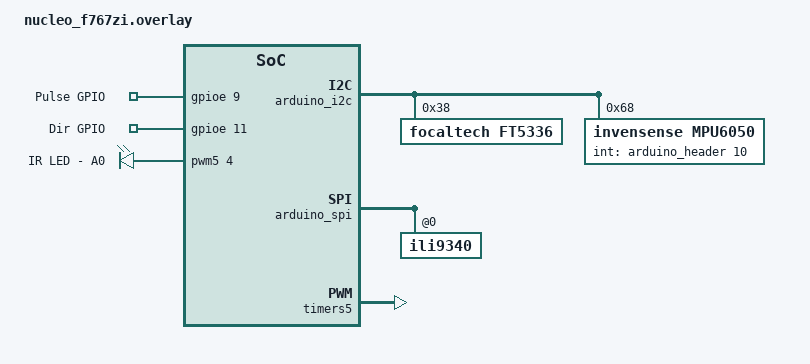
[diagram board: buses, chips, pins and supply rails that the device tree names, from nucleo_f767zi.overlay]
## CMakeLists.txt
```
# SPDX-License-Identifier: Apache-2.0

# Re-direct the directory where the 'boards' directory is found from
# $ZEPHYR_BASE to this directory.
# set(BOARD_ROOT ${CMAKE_CURRENT_LIST_DIR})


set(BOARD nucleo_f767zi) # nucleo_h745zi_q_m7)
set(SHIELD adafruit_2_8_tft_touch_v2)
# set(SHIELD "adafruit_2_8_tft_touch_v2 esp_8266_arduino")

set(CMAKE_C_FLAGS -lstdc++)
set(CMAKE_CXX_FLAGS -lstdc++)

cmake_minimum_required(VERSION 3.13.1)

find_package(Zephyr REQUIRED HINTS $ENV{ZEPHYR_BASE})
project(rail@h745zi)

zephyr_library_compile_options(-lstdc++ -std=c++17 -Wall -Wextra -Wno-missing-field-initializers -Wno-unused-variable -Wno-comment)


FILE(GLOB app_sources src/*.cpp)
target_sources(app PRIVATE ${app_sources})
```

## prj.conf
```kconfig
CONFIG_NEWLIB_LIBC=y
CONFIG_CPLUSPLUS=y
CONFIG_LIB_CPLUSPLUS=y
CONFIG_STD_CPP17=y


CONFIG_EARLY_CONSOLE=y

CONFIG_HEAP_MEM_POOL_SIZE=16384
CONFIG_MAIN_STACK_SIZE=2048

CONFIG_INIT_STACKS=y
CONFIG_THREAD_STACK_INFO=y
CONFIG_SYSTEM_WORKQUEUE_STACK_SIZE=4096
CONFIG_BT_RX_STACK_SIZE=4096

CONFIG_CONSOLE_SUBSYS=y
CONFIG_CONSOLE_GETLINE=y

CONFIG_PWM=y

CONFIG_LOG=y
CONFIG_ASSERT=y

CONFIG_DISPLAY=y
CONFIG_DISPLAY_LOG_LEVEL_ERR=y

CONFIG_I2C=y
CONFIG_SPI=y

###############################################################################
### lvgl
CONFIG_LVGL=y
CONFIG_LVGL_HOR_RES_MAX=320
CONFIG_LVGL_VER_RES_MAX=240
CONFIG_LVGL_LOG_LEVEL_WRN=y

# Make sure that the rendering task is always executed if we call
# lv_task_handler by setting the refresh period to zero
CONFIG_LVGL_DISP_DEF_REFR_PERIOD=0
# CONFIG_LVGL_COLOR_SCREEN_TRANSP=y
CONFIG_LVGL_ANTIALIAS=y

# CONFIG_LVGL_POINTER_KSCAN=y
# CONFIG_LVGL_POINTER_KSCAN_MSGQ_COUNT=100

# CONFIG_LVGL_USE_ANIMATION=y
# CONFIG_LVGL_USE_SHADOW=y
# CONFIG_LVGL_USE_OUTLINE=y
# CONFIG_LVGL_USE_PATTERN=y
# CONFIG_LVGL_USE_VALUE_STR=y
# CONFIG_LVGL_USE_BLEND_MODES=y
# CONFIG_LVGL_USE_OPA_SCALE=y
# CONFIG_LVGL_USE_IMG_TRANSFORM=y
# CONFIG_LVGL_USE_GROUP=y
# CONFIG_LVGL_USE_GPU=y
# CONFIG_LVGL_IMG_CF_INDEXED=y
# CONFIG_LVGL_IMG_CF_ALPHA=y
# CONFIG_LVGL_USE_FILESYSTEM=y
# CONFIG_LVGL_DOUBLE_VDB=y
# CONFIG_LVGL_USE_BIDI=y
# CONFIG_LVGL_USE_ARABIC_PERSIAN_CHARS=y
# CONFIG_LVGL_USE_OBJ_REALIGN=y
CONFIG_LVGL_USE_LABEL=y
# CONFIG_LVGL_LABEL_TEXT_SEL=y
# CONFIG_LVGL_LABEL_LONG_TXT_HINT=y
# CONFIG_LVGL_USE_IMG=y
# CONFIG_LVGL_USE_LINE=y
# CONFIG_LVGL_USE_ARC=y
CONFIG_LVGL_USE_CONT=y
CONFIG_LVGL_USE_PAGE=y
CONFIG_LVGL_USE_WIN=y
CONFIG_LVGL_USE_TABVIEW=y
# CONFIG_LVGL_USE_TILEVIEW=y
# CONFIG_LVGL_USE_CALENDAR=y
# CONFIG_LVGL_CALENDAR_WEEK_STARTS_MONDAY=y
# CONFIG_LVGL_USE_SPINNER=y
# CONFIG_LVGL_USE_CANVAS=y
CONFIG_LVGL_USE_BAR=y
# CONFIG_LVGL_USE_LINEMETER=y
# CONFIG_LVGL_USE_GAUGE=y
# CONFIG_LVGL_USE_CHART=y
# CONFIG_LVGL_USE_TABLE=y
# CONFIG_LVGL_USE_LED=y
# CONFIG_LVGL_USE_MSGBOX=y
# CONFIG_LVGL_USE_TEXTAREA=y
# CONFIG_LVGL_USE_SPINBOX=y
CONFIG_LVGL_USE_BTN=y
# CONFIG_LVGL_USE_IMGBTN=y
# CONFIG_LVGL_IMGBTN_TILED=y
CONFIG_LVGL_USE_BTNMATRIX=y
# CONFIG_LVGL_USE_KEYBOARD=y
CONFIG_LVGL_USE_CHECKBOX=y
CONFIG_LVGL_USE_LIST=y
CONFIG_LVGL_USE_DROPDOWN=y
CONFIG_LVGL_USE_ROLLER=y
CONFIG_LVGL_USE_SLIDER=y
# CONFIG_LVGL_USE_SWITCH=y
# CONFIG_LVGL_USE_LED=y
# CONFIG_LVGL_USE_OBJMASK=y
CONFIG_LVGL_USE_THEME_MATERIAL=y
# CONFIG_LVGL_FONT_MONTSERRAT_8=y
# CONFIG_LVGL_FONT_MONTSERRAT_10=y
CONFIG_LVGL_FONT_MONTSERRAT_12=y
# CONFIG_LVGL_FONT_MONTSERRAT_14=y
CONFIG_LVGL_FONT_MONTSERRAT_16=y
# CONFIG_LVGL_FONT_MONTSERRAT_18=y
# CONFIG_LVGL_FONT_MONTSERRAT_20=y
# CONFIG_LVGL_FONT_MONTSERRAT_22=y
CONFIG_LVGL_FONT_MONTSERRAT_24=y
# CONFIG_LVGL_FONT_MONTSERRAT_26=y
CONFIG_LVGL_FONT_MONTSERRAT_28=y
# CONFIG_LVGL_FONT_MONTSERRAT_30=y
# CONFIG_LVGL_FONT_MONTSERRAT_32=y
# CONFIG_LVGL_FONT_MONTSERRAT_34=y
# CONFIG_LVGL_FONT_MONTSERRAT_36=y
# CONFIG_LVGL_FONT_MONTSERRAT_38=y
# CONFIG_LVGL_FONT_MONTSERRAT_40=y
# CONFIG_LVGL_FONT_MONTSERRAT_42=y
# CONFIG_LVGL_FONT_MONTSERRAT_44=y
# CONFIG_LVGL_FONT_MONTSERRAT_46=y
# CONFIG_LVGL_FONT_MONTSERRAT_48=y
# CONFIG_LVGL_FONT_MONTSERRAT_12_SUBPX=y
# CONFIG_LVGL_FONT_MONTSERRAT_28_COMPRESSED=y
# CONFIG_LVGL_FONT_DEJAVU_16_PERSIAN_HEBREW=y
# CONFIG_LVGL_FONT_SIMSUN_16_CJK=y
# CONFIG_LVGL_FONT_UNSCII_8=y
# CONFIG_LVGL_USE_FONT_COMPRESSED=y
# CONFIG_LVGL_USE_FONT_SUBPX=y

# CONFIG_LVGL_VDB_SIZE=64
# CONFIG_LVGL_DPI=148
# CONFIG_LVGL_BITS_PER_PIXEL=1
# CONFIG_LVGL_COLOR_DEPTH=LVGL_COLOR_DEPTH_1

###############################################################################
### sensors
CONFIG_SENSOR=y
CONFIG_MPU6050=y
CONFIG_MPU6050_TRIGGER_NONE=y
CONFIG_CBPRINTF_FP_SUPPORT=y

# CONFIG_BMI160=y

###############################################################################
### networking
# CONFIG_NETWORKING=y

# CONFIG_NET_CONFIG_AUTO_INIT=y

# # #CONFIG_NET_TX_STACK_SIZE=2048
# # #CONFIG_NET_RX_STACK_SIZE=2048

# # #CONFIG_NET_PKT_RX_COUNT=10
# # #CONFIG_NET_PKT_TX_COUNT=10
# # #CONFIG_NET_BUF_RX_COUNT=20
# # #CONFIG_NET_BUF_TX_COUNT=20
# # #CONFIG_NET_MAX_CONTEXTS=10


# # CONFIG_NET_IPV4=y
# # CONFIG_NET_IPV6=n

# # CONFIG_NET_TCP=y

# # CONFIG_NET_LOG=y
# # CONFIG_INIT_STACKS=y

# # #CONFIG_NET_STATISTICS=y
# # #CONFIG_NET_STATISTICS_PERIODIC_OUTPUT=n

# CONFIG_WIFI=y
# CONFIG_WIFI_LOG_LEVEL_ERR=y
# # # CONFIG_NET_L2_WIFI_SHELL=y
```

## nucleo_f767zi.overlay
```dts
/*
 *
 * SPDX-License-Identifier: Apache-2.0
 */
 / {
	gpio_keys {
		compatible = "gpio-keys";
		pulse_gpio: pulse_gpio {
			gpios = <&gpioe 9 GPIO_ACTIVE_HIGH>; /* D6 */
			label = "Pulse GPIO";
		};
		dir_gpio: dir_gpio {
			gpios = <&gpioe 11 GPIO_ACTIVE_HIGH>; /* D5 */
			label = "Dir GPIO";
		};
	};
	aliases {
		pulse = &pulse_gpio;
        dir = &dir_gpio;
		pwmir = &ir_pwm_led;
	};

	pwmleds {
		compatible = "pwm-leds";
		ir_pwm_led: ir_pwm_led {
			pwms = <&pwm5 4 4 PWM_POLARITY_NORMAL>;
			label = "IR LED - A0";
		};
	};
};

&arduino_i2c {
	status = "okay";
	touch_controller: ft5336@38 {
		compatible = "focaltech,ft5336";
		reg = <0x38>;
		label = "FT5336";
		/* Uncomment if IRQ line is available (requires to solder jumper) */
		/* int-gpios = <&arduino_header 13 GPIO_ACTIVE_LOW>; */ /* D7 */
	};

	mpu6050@68 {
		compatible = "invensense,mpu6050";
		reg = <0x68>;
		status = "okay";
		label = "MPU6050";
		int-gpios = <&arduino_header 10 GPIO_ACTIVE_HIGH>; /* D4 */
	};
};

&arduino_spi {
	ili9340@0 {
		rotation = < 90 >;
	};
};

// &arduino_serial {
// 	status = "okay";
// 	current-speed = <115200>;
// 
// 	esp8266 {
// 		compatible = "espressif,esp";
// 		label = "esp8266";
// 		status = "okay";
// 	};
// };

&timers5 {
    status = "okay";

    pwm5: pwm {
        status = "okay";
		st,prescaler = < 2 >;
        pinctrl-0 = <&tim5_ch4_pa3>; /* A0 */
    };
};
```

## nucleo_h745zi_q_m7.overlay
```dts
/*
 *
 * SPDX-License-Identifier: Apache-2.0
 */
 / {
	leds {
		compatible = "gpio-leds";
	};

	gpio_keys {
		compatible = "gpio-keys";
		pulse_gpio: pulse_gpio {
			gpios = <&gpioa 8 GPIO_ACTIVE_HIGH>; /* D6 */
			label = "Pulse GPIO";
		};
		dir_gpio: dir_gpio {
			gpios = <&gpioe 11 GPIO_ACTIVE_HIGH>; /* D5 */
			label = "Dir GPIO";
		};
	};
	aliases {
		// led0 = &green_led;
		led1 = &yellow_led;
		pulse = &pulse_gpio;
        dir = &dir_gpio;

		pwmir = &ir_pwm_led;
		// pwmir = &red_pwm_led;
	};

	pwmleds {
		compatible = "pwm-leds";
		ir_pwm_led: ir_pwm_led {
			pwms = <&pwm5 4 4 PWM_POLARITY_NORMAL>;
			label = "IR LED - A0";
		};
	};
};

&spi1 {
    pinctrl-0 = <&spi1_nss_pa4 &spi1_sck_pa5
                 &spi1_miso_pa6 &spi1_mosi_pb5>;
    status = "okay";
};
arduino_spi: &spi1 {};
&arduino_spi {
    cs-gpios = < &arduino_header 0x10 0x1 >, < &arduino_header 0xc 0x1 >;
	ili9340@0 {
		rotation = < 0x10E >;
	};
};


&arduino_i2c {
	status = "okay";
	touch_controller: ft5336@38 {
		compatible = "focaltech,ft5336";
		reg = <0x38>;
		label = "FT5336";
		/* Uncomment if IRQ line is available (requires to solder jumper) */
		/* int-gpios = <&arduino_header 13 GPIO_ACTIVE_LOW>; */ /* D7 */
	};

	mpu6050@68 {
		compatible = "invensense,mpu6050";
		reg = <0x68>;
		status = "okay";
		label = "MPU6050";
		int-gpios = <&arduino_header 2 GPIO_ACTIVE_HIGH>; /* D7 */
	};
};

&timers5 {
    status = "okay";

    pwm5: pwm {
        status = "okay";
		st,prescaler = < 2 >;
        pinctrl-0 = <&tim5_ch4_pa3>; /* A0 */
    };
};
```

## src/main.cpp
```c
/*
 * Copyright (c) 2018 Google LLC.
 *
 * SPDX-License-Identifier: Apache-2.0
 */

#include <stdbool.h>
#include <stdio.h>
#include <stdlib.h>
#include <string.h>
#include <zephyr.h>
#include <zephyr/types.h>

#include <device.h>
#include <init.h>
#include <kernel.h>
#include <sys/byteorder.h>
#include <sys/crc.h>
#include <sys/printk.h>

#include <console/console.h>

#include <lvgl.h>

#include <drivers/display.h>

#include <logging/log.h>
LOG_MODULE_REGISTER(rail);

#include "Display.h"
#include "GyroWaiter.h"
#include "IrSony.h"
#include "StepperWithTarget.h"
#include "View.h"

#define SW0_NODE DT_ALIAS(sw0)

// ############################################################################
// initialize Stepper

StepperWithTarget stepper;

void stepper_work_handler(struct k_work *work) {
  ARG_UNUSED(work);
  stepper.step_towards_target();
}
K_WORK_DEFINE(stepper_work, stepper_work_handler);
void stepper_expiry_function(struct k_timer *timer_id) {
  ARG_UNUSED(timer_id);
  k_work_submit(&stepper_work);
}
K_TIMER_DEFINE(stepper_timer, stepper_expiry_function, NULL);
void start_stepper() {
  stepper.start();
  k_timer_start(&stepper_timer, K_USEC(20), K_USEC(20));
}

// ############################################################################
// initialize IrSony
IrSony irsony;

// ############################################################################
// initialize GyroWaiter
GyroWaiter gyro_waiter;

// ############################################################################
// initialize Button
#define SW0_GPIO_LABEL DT_GPIO_LABEL(SW0_NODE, gpios)
#define SW0_GPIO_PIN DT_GPIO_PIN(SW0_NODE, gpios)
#define SW0_GPIO_FLAGS (GPIO_INPUT | DT_GPIO_FLAGS(SW0_NODE, gpios))
static struct gpio_callback button_cb_data;
void button_pressed(const struct device *dev, struct gpio_callback *cb,
                    uint32_t pins) {
  ARG_UNUSED(dev);
  ARG_UNUSED(cb);
  ARG_UNUSED(pins);

  printk("Button pressed at %" PRIu32 "\n", k_cycle_get_32());
  gyro_waiter.wait();
}
void init_button() {
  const struct device *button;
  button = device_get_binding(SW0_GPIO_LABEL);
  gpio_pin_configure(button, SW0_GPIO_PIN, SW0_GPIO_FLAGS);
  gpio_pin_interrupt_configure(button, SW0_GPIO_PIN, GPIO_INT_EDGE_TO_ACTIVE);
  gpio_init_callback(&button_cb_data, button_pressed, BIT(SW0_GPIO_PIN));
  gpio_add_callback(button, &button_cb_data);
}

// ############################################################################
// ...

Display get_display() {
  const struct device *display_dev =
      device_get_binding(CONFIG_LVGL_DISPLAY_DEV_NAME);
  __ASSERT(display_dev != NULL, "display device not found.");
  Display display(display_dev);
  return display;
}

// ############################################################################
// Main

void main(void) {
  gyro_waiter.init();


  LOG_INF("stepper = %p", &stepper);

  init_button();

  Display display = get_display();

  Model model(&stepper);
  model.set_upper_bound(12800);
  model.set_step_number(300);
  LOG_INF("model = %p", &model);
  model.log_state();

  Controller controller(&model, &irsony, &gyro_waiter);
  controller.prepare_stack();
  LOG_INF("controller = %p", &controller);

  View view(&model, &controller, &display);
  LOG_INF("view = %p", &view);

  start_stepper();
  while (true) {
    view.update();
    lv_task_handler();
    controller.work();
    k_sleep(K_MSEC(100));
  }
}
```

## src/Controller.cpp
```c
#include "Controller.h"
#include <logging/log.h>
LOG_MODULE_REGISTER(controller);

K_SEM_DEFINE(_work_in_progress_sem, 1, 1);
Controller::Controller(Model *_model, IrSony *_irsony, GyroWaiter *_gyro_waiter)
    : model{_model}, irsony{_irsony}, gyro_waiter{_gyro_waiter} {
  work_in_progress_sem = &_work_in_progress_sem;
}

void Controller::work() {
  if (k_sem_take(work_in_progress_sem, K_MSEC(50)) != 0) {
    LOG_WRN("work, but semaphore is not availablel");
    return;
  }
  if (model->is_stack_in_progress() && model->is_in_target_position()) {
    do_next_stack_step();
  }
  k_sem_give(work_in_progress_sem);
}

void Controller::go(int dist) { model->go(dist); }
void Controller::go_to(int target_position) {
  model->set_target_position(target_position);
}
void Controller::go_to_upper_bound() {
  model->set_target_position(model->get_upper_bound());
}
void Controller::go_to_lower_bound() {
  model->set_target_position(model->get_lower_bound());
}

void Controller::set_new_upper_bound() {
  model->set_upper_bound(model->get_target_position());
  prepare_stack();
}

void Controller::set_new_lower_bound() {
  model->set_lower_bound(model->get_target_position());
  prepare_stack();
}

void Controller::set_step_number(int step_number) {
  model->set_step_number(step_number);
  prepare_stack();
}

void Controller::synchronize_and_sleep(k_timeout_t timeout) {
  k_sleep(K_MSEC(10));

  k_sleep(timeout);
}

void Controller::prepare_stack() {
  if (model->is_stack_in_progress()) {
    LOG_WRN("tried to prepare while stack was in progress");
    return;
  }

  int cur_position = model->get_cur_position();
  int upper_bound = model->get_upper_bound();
  int lower_bound = model->get_lower_bound();

  int start, stop;
  if (abs(lower_bound - cur_position) < abs(upper_bound - cur_position)) {
    start = lower_bound;
    stop = upper_bound;
  } else {
    start = upper_bound;
    stop = lower_bound;
  }

  int step_number = model->get_step_number();
  LOG_INF("prepare_stack: %d -> %d, #=%d", start, stop, step_number);

  int distance = stop - start;
  int stack_step_jump = distance / step_number;
  if (stack_step_jump == 0) {
    LOG_WRN("step_jump of 0");
    return;
  }
  int i;
  for (i = 0; i < (step_number - 1); i++) {
    model->set_step_position(i, start + i * stack_step_jump);
  }
  model->set_step_position(step_number - 1, stop);
}

void Controller::start_stack() {
  if (model->is_stack_in_progress()) {
    LOG_WRN("start_stack, stack already running");
  } else {
    LOG_INF("start_stack");
    std::optional<int> start_position = model->get_next_step_and_increment();
    if (!start_position.has_value()) {
      LOG_ERR("stacking start failed");
      return;
    }
    go_to(start_position.value());
    model->set_stack_in_progress(true);
  }
}

void Controller::stop_stack() {
  LOG_INF("stop_stack");
  model->set_stack_in_progress(false);
}

void Controller::do_next_stack_step() {
  if (!model->is_stack_in_progress()) {
    LOG_ERR("stacking, but not in progress");
    return;
  }

  if (!model->is_in_target_position()) {
    LOG_WRN("stacking, but not yet in target position");
    return;
  }

  LOG_INF("stacking, waiting");
  k_sleep(K_MSEC(2000));
  LOG_INF("stacking, gyro_waiter, waiting");
  gyro_waiter->wait();
  LOG_INF("stacking, take pickture");
  irsony->shoot();
  k_sleep(K_MSEC(500));

  std::optional<int> next_position = model->get_next_step_and_increment();
  if (!next_position.has_value()) {
    LOG_INF("stacking, finished");
    return;
  }
  LOG_INF("stacking, next is %d", next_position.value());

  go_to(next_position.value());
}
```

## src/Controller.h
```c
#ifndef __CONTROLLER_H_
#define __CONTROLLER_H_

#include <device.h>
#include <init.h>
#include <stdbool.h>
#include <stdio.h>
#include <stdlib.h>
#include <string.h>
#include <zephyr.h>
#include <zephyr/types.h>

#include <drivers/display.h>
#include <lvgl.h>

#include <logging/log.h>

#include "GyroWaiter.h"
#include "IrSony.h"
#include "Model.h"

class Controller {
  Model *model;
  IrSony *irsony;
  GyroWaiter *gyro_waiter;
  struct k_sem *work_in_progress_sem;
public:
  Controller(Model *_model, IrSony *_irsony, GyroWaiter *_gyro_waiter);
  void work();

  void go(int dist);
  void go_to(int target_position);
  void go_to_upper_bound();
  void go_to_lower_bound();
  void set_new_upper_bound();
  void set_new_lower_bound();
  void set_step_number(int step_number);

  void synchronize_and_sleep(k_timeout_t timeout);

  void prepare_stack();
  void start_stack();
  void stop_stack();
  void do_next_stack_step();
};

#endif // __CONTROLLER_H_
```

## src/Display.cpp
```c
#include "Display.h"
#include <logging/log.h>
LOG_MODULE_REGISTER(display);

void Display::init_styles() {
  lv_style_init(&style_normal);
  lv_style_set_text_font(&style_normal, LV_STATE_DEFAULT, font_normal);

  lv_style_init(&style_button);
  lv_style_set_bg_color(&style_button, LV_STATE_DEFAULT, LV_COLOR_GRAY);
  lv_style_set_bg_color(&style_button, LV_STATE_PRESSED, LV_COLOR_RED);
  lv_style_set_radius(&style_button, LV_STATE_DEFAULT, 5);
  lv_style_set_bg_opa(&style_button, LV_STATE_DEFAULT, LV_OPA_COVER);

  lv_style_init(&style_box);
  lv_style_set_bg_color(&style_box, LV_STATE_DEFAULT, LV_COLOR_BLACK);
  lv_style_set_bg_opa(&style_box, LV_STATE_DEFAULT, LV_OPA_COVER);
}

void Display::init_header(lv_obj_t *parent) {
  header = add_container(parent, LV_HOR_RES, 25);
  lv_obj_align(header, NULL, LV_ALIGN_IN_TOP_MID, 0, 0);
}

void Display::init_tabview(lv_obj_t *parent) {
  tabview = lv_tabview_create(parent, NULL);
  lv_obj_set_size(tabview, LV_HOR_RES, LV_VER_RES - 15);
  lv_obj_add_style(tabview, 0, &style_normal);
  lv_obj_align(tabview, NULL, LV_ALIGN_IN_BOTTOM_MID, 0, 0);
}

Display::Display(const struct device *display_dev) {
  LOG_INF("initialize display...");
  init_styles();
  init_tabview(lv_scr_act());
  init_header(lv_scr_act());
  LOG_INF("...initialize display done");
  display_blanking_off(display_dev);
}

lv_obj_t *Display::get_header() { return header; }

lv_obj_t *Display::make_tab(const char *title) {
  return lv_tabview_add_tab(tabview, title);
}

lv_obj_t *Display::add_container(lv_obj_t *parent, int width, int height) {
  lv_obj_t *container = lv_cont_create(parent, NULL);
  lv_obj_set_size(container, width, height);
  lv_cont_set_fit(container, LV_FIT_TIGHT);
  lv_cont_set_layout(container, LV_LAYOUT_COLUMN_MID);
  return container;
}

lv_obj_t *Display::add_label(lv_obj_t *parent) {
  lv_obj_t *lbl = lv_label_create(parent, NULL);
  lv_obj_add_style(lbl, 0, &style_normal);
  return lbl;
}

lv_obj_t *Display::add_panel(lv_obj_t *parent) {
  lv_obj_t *panel = lv_obj_create(parent, NULL);
  lv_obj_add_style(panel, 0, &style_box);
  return panel;
}

lv_obj_t *Display::add_button(lv_obj_t *parent, const char *label_text,
                              int width, int height) {
  lv_obj_t *btn = lv_btn_create(parent, NULL);
  lv_obj_set_height(btn, height);
  lv_obj_set_width(btn, width);
  lv_obj_add_style(btn, 0, &style_button);
  if (label_text != NULL) {
    lv_obj_t *label = lv_label_create(btn, NULL);
    lv_label_set_text(label, label_text);
    lv_obj_add_style(label, 0, &style_normal);
  }
  return btn;
}

lv_obj_t *Display::add_roller(lv_obj_t *parent, const char *options) {
  lv_obj_t *roller = lv_roller_create(parent, NULL);
  lv_roller_set_options(roller, options, LV_ROLLER_MODE_NORMAL);

  lv_roller_set_visible_row_count(roller, 4);
  return roller;
}

void Display::set_header_visible(bool is_visible) {
  lv_obj_set_hidden(header, !is_visible);
}
```

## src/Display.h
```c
#ifndef __DISPLAY_H_
#define __DISPLAY_H_

#include <drivers/display.h>
#include <lvgl.h>
#include <map>

class Display {
  void init_styles();
  lv_obj_t *header;
  lv_obj_t *tabview;
  void init_header(lv_obj_t *parent);
  void init_tabview(lv_obj_t *parent);

  const lv_font_t *font_title = &lv_font_montserrat_28;
  const lv_font_t *font_subtitle = &lv_font_montserrat_24;
  const lv_font_t *font_normal = &lv_font_montserrat_16;
  const lv_font_t *font_small = &lv_font_montserrat_12;

public:
  Display(const struct device *display_dev);

  lv_style_t style_normal;
  lv_style_t style_button;
  lv_style_t style_box;

  lv_obj_t *get_header();
  lv_obj_t *make_tab(const char *title);
  lv_obj_t *add_container(lv_obj_t *parent, int width, int heigth);
  lv_obj_t *add_label(lv_obj_t *parent);
  lv_obj_t *add_panel(lv_obj_t *parent);
  lv_obj_t *add_button(lv_obj_t *parent, const char *label_text, int width,
                       int heigth);
  lv_obj_t *add_roller(lv_obj_t *parent, const char *options);
  void set_header_visible(bool is_visible);
};

#endif // __DISPLAY_H_
```

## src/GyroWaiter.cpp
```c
#include <stdbool.h>
#include <stdio.h>
#include <stdlib.h>
#include <string.h>
#include <zephyr.h>
#include <zephyr/types.h>

#include <device.h>
#include <init.h>
#include <kernel.h>
#include <net/buf.h>
#include <sys/byteorder.h>
#include <sys/crc.h>
#include <sys/printk.h>

#include <lvgl.h>

#include <drivers/sensor.h>

#include "GyroWaiter.h"

#include <logging/log.h>
LOG_MODULE_REGISTER(gyro);

void GyroWaiter::init(){
  LOG_INF("gyro waiter init...");
  offset_0 = 0;
  offset_1 = 0;
  offset_2 = 0;
  if (mpu6050 == NULL) {
    return;
  }

  k_sleep(K_MSEC(500));
  int rc = 0;
  struct sensor_value gyro[3];
  int num_of_samples = 10;
  for(int idx = 1; idx < num_of_samples; ++idx) {
    rc = sensor_sample_fetch(mpu6050);
    if (rc == 0) {
      rc = sensor_channel_get(mpu6050, SENSOR_CHAN_GYRO_XYZ, gyro);
    }

    LOG_DBG("( %f , %f , %f )", sensor_value_to_double(&gyro[0]),
            sensor_value_to_double(&gyro[1]), sensor_value_to_double(&gyro[2]));

    offset_0 += sensor_value_to_double(&gyro[0]);
    offset_1 += sensor_value_to_double(&gyro[1]);
    offset_2 += sensor_value_to_double(&gyro[1]);

    k_sleep(K_MSEC(sleep_msec));
  }
  offset_0 = offset_0 / num_of_samples;
  offset_1 = offset_1 / num_of_samples;
  offset_2 = offset_2 / num_of_samples;
  LOG_INF("gyro waiter offsets: ( %f , %f , %f )", offset_0, offset_1, offset_2);
}

int GyroWaiter::wait() {
  if (mpu6050 == NULL) {
    return 0;
  }

  char gyro_str[40] = {0};
  struct sensor_value gyro[3];

  double cyclic_buffer[num_of_samples * 3] = {1, 1, 1};
  int idx = 1;
  int count = 0;
  int rc = 0;

  LOG_INF("wait for stall...\n");
  while (1) {
    rc = sensor_sample_fetch(mpu6050);
    if (rc == 0) {
      rc = sensor_channel_get(mpu6050, SENSOR_CHAN_GYRO_XYZ, gyro);
    }
    if (rc != 0) {
      break;
    }
    sprintf(gyro_str, "%f\n%f\n%f", sensor_value_to_double(&gyro[0]),
            sensor_value_to_double(&gyro[1]), sensor_value_to_double(&gyro[2]));
    LOG_DBG("... %s\n", gyro_str);
    if (label) {
      lv_label_set_text(label, gyro_str);
    }

    cyclic_buffer[idx * 3] = sensor_value_to_double(&gyro[0]) - offset_0;
    cyclic_buffer[idx * 3 + 1] = sensor_value_to_double(&gyro[1]) - offset_1;
    cyclic_buffer[idx * 3 + 2] = sensor_value_to_double(&gyro[2]) - offset_2;

    double sum = 0;
    for (int i = 0; i < num_of_samples * 3; i++) {
      if (cyclic_buffer[i] > 0) {
        sum += cyclic_buffer[i];
      } else {
        sum -= cyclic_buffer[i];
      }
    }

    LOG_DBG("... %i:sum = %f ...\n", count, sum);
    if (sum < boundary) {
      LOG_INF("... stalled @ sum = %f\n", sum);
      break;
    }

    if (count > bail_count) {
      LOG_WRN("... bail count exceeded: %i > %i\n", count, bail_count);
      rc = -1;
      break;
    }

    idx = (++idx) % num_of_samples;
    k_sleep(K_MSEC(sleep_msec));
    ++count;
  }
  return rc;
};
```

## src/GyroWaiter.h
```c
#ifndef GYRO_WAITER_H
#define GYRO_WAITER_H
#include <stdbool.h>
#include <stdio.h>
#include <stdlib.h>
#include <string.h>
#include <zephyr.h>
#include <zephyr/types.h>

#include <device.h>
#include <init.h>
#include <kernel.h>
#include <net/buf.h>
#include <sys/byteorder.h>
#include <sys/crc.h>
#include <sys/printk.h>

#include <console/console.h>

#include <lvgl.h>

#include <drivers/gpio.h>
#include <drivers/sensor.h>

#define MPU6050_LABEL DT_LABEL(DT_INST(0, invensense_mpu6050))

class GyroWaiter {
  const struct device *mpu6050 = device_get_binding(MPU6050_LABEL);
  lv_obj_t *label;
  int num_of_samples = 4;
  double boundary = 0.1 * num_of_samples;
  int bail_count = 400;
  int sleep_msec = 50;

  double offset_0 = 0;
  double offset_1 = 0;
  double offset_2 = 0;

public:
  GyroWaiter(){};
  void init();
  int wait();
};
#endif /* GYRO_WAITER_H */
```

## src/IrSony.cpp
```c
#include "IrSony.h"

/*
   contains parts from:

   ATtiny85 Sony NEX/Alpha Remote Control

   David Johnson-Davies - www.technoblogy.com - 12th April 2015
   ATtiny85 @ 1 MHz (internal oscillator; BOD disabled)

   CC BY 4.0
   Licensed under a Creative Commons Attribution 4.0 International license:
   http://creativecommons.org/licenses/by/4.0/
*/

#include <logging/log.h>
LOG_MODULE_REGISTER(irsony);

// Remote control
const unsigned long shutter_code = 0x2D;
const unsigned long two_secs_code = 0x37;
const unsigned long video_code = 0x48;

const int BASE = 635;
const int ZERO_DURATION = BASE;
const int ONE_DURATION = BASE * 2;
const int START_DURATION = BASE * 4;

void IrSony::send_pulse(int duration) {
  if (pwm_pin_set_usec(pwm, PWM_IR_CHANNEL, PERIOD_USEC, PULSE_USEC,
                       PWM_IR_FLAGS) < 0) {
    LOG_ERR("failed to start carrier");
    return;
  }
  k_busy_wait(duration);
  if (pwm_pin_set_usec(pwm, PWM_IR_CHANNEL, PERIOD_USEC, 0, PWM_IR_FLAGS) < 0) {
    LOG_ERR("failed to stop carrier");
    return;
  }
  k_busy_wait(BASE);
}

void IrSony::send_start() {
  LOG_MODULE_DECLARE(irsony);
  send_pulse(START_DURATION);
}
void IrSony::send_bit(bool is_one) {
  LOG_MODULE_DECLARE(irsony);
  if (is_one) {
    send_pulse(ONE_DURATION);
  } else {
    send_pulse(ZERO_DURATION);
  }
}
void IrSony::send_code(unsigned long code) {
  send_start();
  // Send 20 bits
  for (int bit = 0; bit < 20; bit++) {
    send_bit(code & ((unsigned long)1 << bit));
  }
}
void IrSony::send_command(unsigned long command) {
  unsigned long address = 0x1E3A;
  LOG_MODULE_DECLARE(irsony);
  unsigned long code = (unsigned long)address << 7 | command;
  LOG_INF("send command=0x%08lu code=0x%08lu", command, code);

  for (int i = 0; i < 6; i++) {
    send_code(code);
    k_busy_wait(11000);
  }
}

IrSony::IrSony() {
  LOG_MODULE_DECLARE(irsony);
  if (pwm_pin_set_usec(pwm, PWM_IR_CHANNEL, PERIOD_USEC, 0, PWM_IR_FLAGS) < 0) {
    LOG_ERR("failed to stop carrier");
    return;
  }
}

void IrSony::shoot() {
  LOG_MODULE_DECLARE(irsony);
  send_command(shutter_code);
}
```

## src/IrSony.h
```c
#ifndef IRSONY_H_
#define IRSONY_H_

#include <device.h>
#include <drivers/pwm.h>
#include <init.h>
#include <stdbool.h>
#include <stdio.h>
#include <stdlib.h>
#include <string.h>
#include <zephyr.h>
#include <zephyr/types.h>

#include <logging/log.h>

#include "GPIOs.h"

#define PWM_IR_NODE DT_ALIAS(pwmir)
#define PWM_IR_CTLR DT_PWMS_CTLR(PWM_IR_NODE)
#define PWM_IR_CHANNEL DT_PWMS_CHANNEL(PWM_IR_NODE)
#define PWM_IR_FLAGS DT_PWMS_FLAGS(PWM_IR_NODE)

#define MIN_PERIOD_USEC (USEC_PER_SEC / 64U)
#define MAX_PERIOD_USEC USEC_PER_SEC

// 40kHz
#define PERIOD_USEC (USEC_PER_SEC / 40000U)
// pulses with approx 25% mark/space ratio
#define PULSE_USEC (PERIOD_USEC / 4)

class IrSony {
  const struct device *pwm = DEVICE_DT_GET(PWM_IR_CTLR);
  uint32_t max_period = MAX_PERIOD_USEC;

  void send_pulse(int duration);
  void send_start();
  void send_bit(bool is_one);
  void send_code(unsigned long code);
  void send_command(unsigned long command);

public:
  IrSony();
  void shoot();
};

#endif // IRSONY_H_
```

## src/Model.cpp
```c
#include "Model.h"
#include <logging/log.h>
LOG_MODULE_REGISTER(model);

Model::Model(StepperWithTarget *_stepper) {
  stepper = _stepper;
  stepps = (int *)malloc(sizeof(int) * 1000);
}

void Model::log_state() {
  stepper->log_state();
  LOG_INF("bounds=(%i, %i)", lower_bound, upper_bound);
  LOG_INF("step_number=%i, cur_step_index=%i, stack_in_progress=%d",
          step_number, cur_step_index, stack_in_progress);
};

void Model::go(int dist) {
  LOG_MODULE_DECLARE(model);
  int target_position = stepper->go_relative(dist);
  LOG_INF("target: %i", target_position);
}

void Model::set_target_position(int _target_position) {
  stepper->set_target_position(_target_position);
}
int Model::get_target_position() { return stepper->get_target_position(); }

void Model::set_upper_bound(int _upper_bound) { upper_bound = _upper_bound; }
int Model::get_upper_bound() { return upper_bound; }
void Model::set_lower_bound(int _lower_bound) { lower_bound = _lower_bound; }
int Model::get_lower_bound() { return lower_bound; }

void Model::set_step_number(int _step_number) {
  step_number = _step_number;
  cur_step_index = 0;
}
void Model::set_step_position(int index, int pos) { stepps[index] = pos; }
std::optional<int> Model::get_next_step_and_increment() {
  if (cur_step_index >= step_number) {
    stack_in_progress = false;
    return {};
  }
  return stepps[cur_step_index++];
}
void Model::set_stack_in_progress(bool _stack_in_progress) {
  stack_in_progress = _stack_in_progress;
  if (!stack_in_progress) {
    cur_step_index = 0;
  }
}
bool Model::is_stack_in_progress() { return stack_in_progress; }

int Model::get_cur_position() { return stepper->get_position(); }

bool Model::is_in_target_position() {
  return get_cur_position() == get_target_position();
}
```

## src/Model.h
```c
#ifndef __MODEL_H_
#define __MODEL_H_

#include <device.h>
#include <init.h>
#include <stdbool.h>
#include <stdio.h>
#include <stdlib.h>
#include <string.h>
#include <zephyr.h>
#include <zephyr/types.h>

#include <optional>

#include "StepperWithTarget.h"

class Model {
  StepperWithTarget *stepper;
  int upper_bound = 12800;
  int lower_bound = 0;

  int step_number = 0;
  int cur_step_index = 0;
  int *stepps;
  bool stack_in_progress = false;

public:
  Model(StepperWithTarget *_stepper);

  void log_state();

  void go(int dist);

  void set_target_position(int _target_position);
  int get_target_position();
  void set_upper_bound(int _upper_bound);
  int get_upper_bound();
  void set_lower_bound(int _lower_bound);
  int get_lower_bound();

  void set_step_number(int _step_number);
  int get_step_number() { return step_number; };
  int get_step_jump_size() {
    if (step_number > 1) {
      return stepps[1] - stepps[0];
    } else {
      return 0;
    }
  };
  int get_cur_step_index() { return cur_step_index; };
  void set_step_position(int index, int pos);
  std::optional<int> get_next_step_and_increment();
  void set_stack_in_progress(bool _stack_in_progress);
  bool is_stack_in_progress();

  int get_cur_position();
  bool is_in_target_position();
};

#endif // __MODEL_H_
```

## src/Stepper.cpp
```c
#include "Stepper.h"

#include <logging/log.h>
LOG_MODULE_REGISTER(stepper);

K_SEM_DEFINE(_stepper_sem, 0, 1);
Stepper::Stepper() { stepper_sem = &_stepper_sem; }

void Stepper::log_state() {
  LOG_MODULE_DECLARE(stepper);
  LOG_INF("position: %i", position);
};

void Stepper::start() { k_sem_give(stepper_sem); }

void Stepper::pause() { k_sem_take(stepper_sem, K_FOREVER); }

void Stepper::set_direction_towards(int target) {
  if (target > position) {
    direction = DIR_RIGHT;
    dir.set(true);
    led0.set(true);
    led1.set(false);
  } else {
    direction = DIR_LEFT;
    dir.set(false);
    led0.set(false);
    led1.set(true);
  }
}

bool Stepper::step_towards(int target) {
  if (target == get_position()) {
    return true;
  }
  LOG_MODULE_DECLARE(stepper);

  k_sem_take(stepper_sem, K_FOREVER);

  set_direction_towards(target);
  pulse.pulse();
  position += direction * step_jump;

  k_sem_give(stepper_sem);

  return target == get_position();
}

int Stepper::get_position() { return position; }
```

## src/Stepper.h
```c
#ifndef __STEPPER_H_
#define __STEPPER_H_

#include <device.h>
#include <init.h>
#include <stdbool.h>
#include <stdio.h>
#include <stdlib.h>
#include <string.h>
#include <zephyr.h>
#include <zephyr/types.h>

#include <logging/log.h>

#include "GPIOs.h"

#define LED0_NODE DT_ALIAS(led0)
#define LED0_LABEL DT_GPIO_LABEL(LED0_NODE, gpios)
#define LED0_PIN DT_GPIO_PIN(LED0_NODE, gpios)
#define LED0_FLAGS DT_GPIO_FLAGS(LED0_NODE, gpios)
#define LED1_NODE DT_ALIAS(led1)
#define LED1_LABEL DT_GPIO_LABEL(LED1_NODE, gpios)
#define LED1_PIN DT_GPIO_PIN(LED1_NODE, gpios)
#define LED1_FLAGS DT_GPIO_FLAGS(LED1_NODE, gpios)

#define PULSE_NODE DT_ALIAS(pulse)
#define PULSE_LABEL DT_GPIO_LABEL(PULSE_NODE, gpios)
#define PULSE_PIN DT_GPIO_PIN(PULSE_NODE, gpios)
#define PULSE_FLAGS DT_GPIO_FLAGS(PULSE_NODE, gpios)
#define DIR_NODE DT_ALIAS(dir)
#define DIR_LABEL DT_GPIO_LABEL(DIR_NODE, gpios)
#define DIR_PIN DT_GPIO_PIN(DIR_NODE, gpios)
#define DIR_FLAGS DT_GPIO_FLAGS(DIR_NODE, gpios)

class PULSE : public GPIO {
public:
  PULSE(const char *label, int _pin, int flags) : GPIO(label, _pin, flags){};
  void pulse() {
    LOG_MODULE_DECLARE(stepper);
    set(true);
    k_usleep(8); // puse width no less then 7.5us
    set(false);
    k_usleep(8); // puse width no less then 7.5us
  };
};

#define STEPS_PER_REV 12800
#define DIR_RIGHT 1
#define DIR_LEFT -1

class Stepper {
  struct k_sem *stepper_sem;
  int direction = DIR_RIGHT;
  int step_jump = 1;
  int position = 0;

  LED led0 = LED(LED0_LABEL, LED0_PIN, LED0_FLAGS);
  LED led1 = LED(LED1_LABEL, LED1_PIN, LED1_FLAGS);
  PULSE pulse = PULSE(PULSE_LABEL, PULSE_PIN, PULSE_FLAGS);
  GPIO dir = GPIO(DIR_LABEL, DIR_PIN, DIR_FLAGS);

  void set_direction_towards(int target);

public:
  Stepper();

  void log_state();

  void start();
  void pause();
  bool step_towards(int target);
  int get_position();
};

#endif // __STEPPER_H_
```
